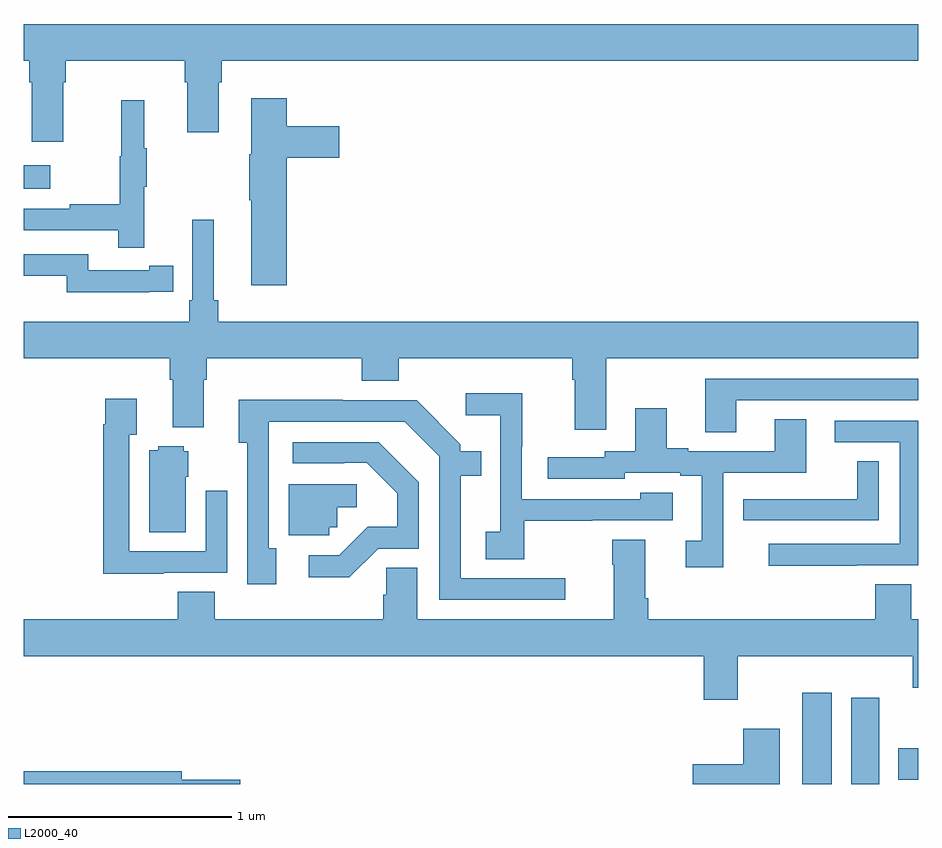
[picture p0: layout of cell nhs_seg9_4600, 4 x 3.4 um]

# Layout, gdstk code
import gdstk
lib = gdstk.Library(unit=1e-6, precision=1e-09)
def R(c, l, rs):  # rectangles x0, y0, x1, y1
    for r in rs: c.add(gdstk.rectangle(r[:2], r[2:], *l))
def P(c, l, *ps):  # polygons
    for p in ps: c.add(gdstk.Polygon(p, *l))
L2000_40 = (2000, 40)

nhs_seg9_4600 = lib.new_cell('nhs_seg9_4600')
R(nhs_seg9_4600, L2000_40, [(378.482,1210.5,378.613,1210.909), (378.701,1210.5,378.826,1210.885), (378.911,1210.52,379,1210.66), (375,1213.163,375.118,1213.267)])
P(nhs_seg9_4600, L2000_40, [(375,1213.736),(375.023,1213.736),(375.023,1213.64),(375.035,1213.64),(375.035,1213.374),(375.175,1213.374),(375.175,1213.64),(375.188,1213.64),(375.188,1213.736),(375.719,1213.736),(375.719,1213.64),(375.731,1213.64),(375.731,1213.416),(375.871,1213.416),(375.871,1213.64),(375.884,1213.64),(375.884,1213.736),(379,1213.736),(379,1213.9),(375,1213.9)],
  [(376.175,1213.301),(376.411,1213.301),(376.411,1213.443),(376.175,1213.443),(376.175,1213.567),(376.016,1213.567),(376.016,1213.317),(376.009,1213.317),(376.009,1213.111),(376.016,1213.111),(376.016,1212.732),(376.175,1212.732)],
  [(375.539,1213.171),(375.55,1213.171),(375.55,1213.345),(375.539,1213.345),(375.539,1213.558),(375.436,1213.558),(375.436,1213.308),(375.429,1213.308),(375.429,1213.094),(375.205,1213.094),(375.205,1213.074),(375,1213.074),(375,1212.978),(375.421,1212.978),(375.421,1212.9),(375.539,1212.9)],
  [(377.605,1212.404),(379,1212.404),(379,1212.568),(375.869,1212.568),(375.869,1212.664),(375.85,1212.664),(375.85,1213.024),(375.753,1213.024),(375.753,1212.664),(375.74,1212.664),(375.74,1212.568),(375,1212.568),(375,1212.404),(375.653,1212.404),(375.653,1212.308),(375.665,1212.308),(375.665,1212.095),(375.805,1212.095),(375.805,1212.308),(375.818,1212.308),(375.818,1212.404),(376.511,1212.404),(376.511,1212.305),(376.676,1212.305),(376.676,1212.404),(377.453,1212.404),(377.453,1212.308),(377.465,1212.308),(377.465,1212.084),(377.605,1212.084)],
  [(375.56,1212.702),(375.668,1212.702),(375.668,1212.818),(375.56,1212.818),(375.56,1212.798),(375.288,1212.798),(375.288,1212.87),(375,1212.87),(375,1212.774),(375.192,1212.774),(375.192,1212.701),(375.56,1212.701)],
  [(378.187,1212.216),(379,1212.216),(379,1212.312),(378.047,1212.312),(378.047,1212.073),(378.187,1212.073)],
  [(377.239,1211.677),(377.543,1211.677),(377.543,1211.679),(377.902,1211.679),(377.902,1211.803),(377.757,1211.803),(377.757,1211.775),(377.226,1211.775),(377.226,1212.008),(377.229,1212.008),(377.229,1212.247),(376.977,1212.247),(376.977,1212.149),(377.13,1212.149),(377.13,1211.628),(377.067,1211.628),(377.067,1211.506),(377.239,1211.506)],
  [(375.625,1211.445),(375.909,1211.445),(375.909,1211.812),(375.813,1211.812),(375.813,1211.541),(375.471,1211.541),(375.471,1212.062),(375.505,1212.062),(375.505,1212.223),(375.363,1212.223),(375.363,1212.11),(375.355,1212.11),(375.355,1211.441),(375.625,1211.441)],
  [(377.422,1211.421),(376.954,1211.421),(376.954,1211.88),(377.045,1211.88),(377.045,1211.989),(376.953,1211.989),(376.953,1212.021),(376.758,1212.216),(376.427,1212.216),(376.427,1212.218),(375.962,1212.218),(375.962,1212.026),(375.999,1212.026),(375.999,1211.394),(376.129,1211.394),(376.129,1211.554),(376.095,1211.554),(376.095,1212.12),(376.704,1212.12),(376.857,1211.967),(376.857,1211.325),(377.422,1211.325)],
  [(378.129,1211.892),(378.499,1211.892),(378.499,1212.131),(378.359,1212.131),(378.359,1211.988),(377.971,1211.988),(377.971,1212.001),(377.875,1212.001),(377.875,1212.181),(377.735,1212.181),(377.735,1211.988),(377.598,1211.988),(377.598,1211.961),(377.343,1211.961),(377.343,1211.865),(377.688,1211.865),(377.688,1211.892),(377.936,1211.892),(377.936,1211.88),(378.032,1211.88),(378.032,1211.589),(377.961,1211.589),(377.961,1211.469),(378.129,1211.469)],
  [(378.725,1211.478),(379,1211.478),(379,1212.126),(378.627,1212.126),(378.627,1212.03),(378.918,1212.03),(378.918,1211.574),(378.333,1211.574),(378.333,1211.476),(378.725,1211.476)],
  [(376.584,1211.553),(376.767,1211.553),(376.767,1211.851),(376.588,1212.03),(376.203,1212.03),(376.203,1211.934),(376.433,1211.934),(376.433,1211.937),(376.533,1211.937),(376.67,1211.8),(376.67,1211.65),(376.537,1211.65),(376.41,1211.523),(376.275,1211.523),(376.275,1211.426),(376.456,1211.426)],
  [(375.724,1211.874),(375.736,1211.874),(375.736,1211.988),(375.714,1211.988),(375.714,1212.01),(375.6,1212.01),(375.6,1211.992),(375.56,1211.992),(375.56,1211.626),(375.724,1211.626)],
  [(378.825,1211.945),(378.727,1211.945),(378.727,1211.775),(378.331,1211.775),(378.331,1211.774),(378.219,1211.774),(378.219,1211.679),(378.825,1211.679)],
  [(376.365,1211.649),(376.401,1211.649),(376.401,1211.738),(376.489,1211.738),(376.489,1211.841),(376.184,1211.841),(376.184,1211.613),(376.365,1211.613)],
  [(378.193,1211.072),(378.977,1211.072),(378.977,1210.931),(379,1210.931),(379,1211.236),(378.969,1211.236),(378.969,1211.393),(378.809,1211.393),(378.809,1211.236),(377.792,1211.236),(377.792,1211.332),(377.779,1211.332),(377.779,1211.593),(377.632,1211.593),(377.632,1211.48),(377.639,1211.48),(377.639,1211.236),(376.759,1211.236),(376.759,1211.468),(376.621,1211.468),(376.621,1211.346),(376.607,1211.346),(376.607,1211.236),(375.854,1211.236),(375.854,1211.36),(375.689,1211.36),(375.689,1211.236),(375,1211.236),(375,1211.072),(378.041,1211.072),(378.041,1210.878),(378.193,1210.878)],
  [(378.382,1210.747),(378.218,1210.747),(378.218,1210.588),(377.991,1210.588),(377.991,1210.5),(378.382,1210.5)],
  [(375.967,1210.52),(375.706,1210.52),(375.706,1210.556),(375,1210.556),(375,1210.5),(375.967,1210.5)])

lib.write_gds('nhs_seg9_4600.gds')
